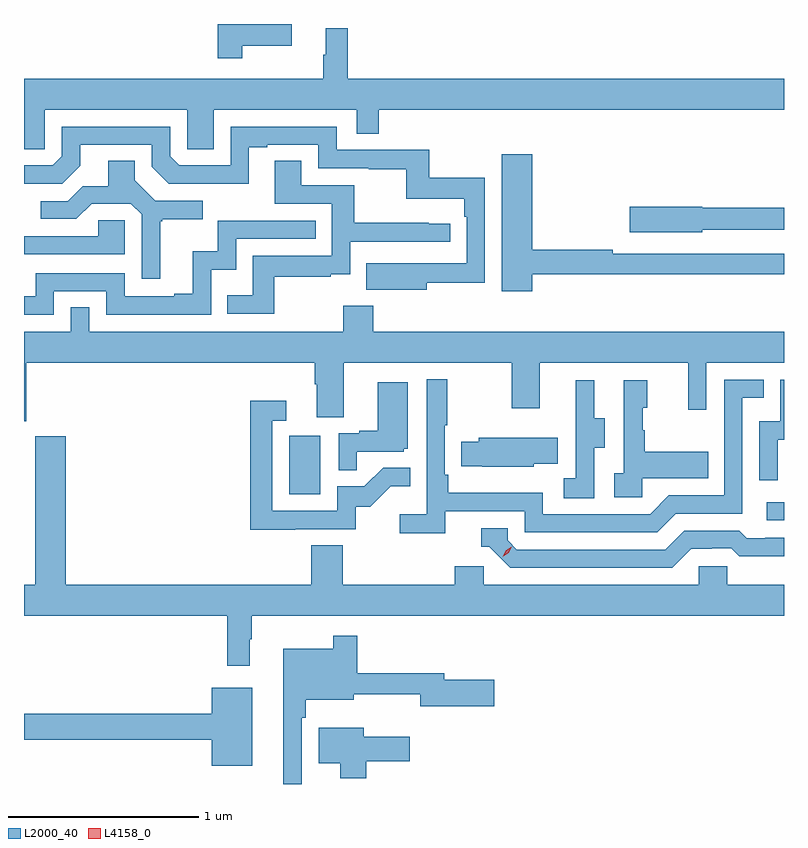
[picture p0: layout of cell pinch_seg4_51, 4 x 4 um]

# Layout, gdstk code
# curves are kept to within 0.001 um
import gdstk
lib = gdstk.Library(unit=1e-6, precision=1e-09)
def R(c, l, rs):  # rectangles x0, y0, x1, y1
    for r in rs: c.add(gdstk.rectangle(r[:2], r[2:], *l))
def P(c, l, *ps):  # polygons
    for p in ps: c.add(gdstk.Polygon(p, *l))
L2000_40 = (2000, 40)
L4158_0 = (4158, 0)

pinch_seg4_51 = lib.new_cell('pinch_seg4_51')
R(pinch_seg4_51, L2000_40, [(1048.509,829.29,1048.599,829.386), (1045.994,829.428,1046.158,829.735)])
P(pinch_seg4_51, L2000_40, [(1045.747,831.788),(1046.008,831.788),(1046.008,831.903),(1045.618,831.903),(1045.618,831.723),(1045.747,831.723)],
  [(1044.708,831.452),(1045.458,831.452),(1045.458,831.244),(1045.597,831.244),(1045.597,831.452),(1046.349,831.452),(1046.349,831.325),(1046.465,831.325),(1046.465,831.452),(1048.599,831.452),(1048.599,831.616),(1046.303,831.616),(1046.303,831.88),(1046.186,831.88),(1046.186,831.74),(1046.175,831.74),(1046.175,831.616),(1044.599,831.616),(1044.599,831.244),(1044.708,831.244)],
  [(1046.719,830.542),(1047.024,830.542),(1047.024,831.094),(1046.731,831.094),(1046.731,831.24),(1046.244,831.24),(1046.244,831.363),(1045.686,831.363),(1045.686,831.159),(1045.416,831.159),(1045.368,831.207),(1045.368,831.363),(1044.798,831.363),(1044.798,831.207),(1044.75,831.159),(1044.599,831.159),(1044.599,831.063),(1044.801,831.063),(1044.895,831.157),(1044.895,831.267),(1045.272,831.267),(1045.272,831.153),(1045.362,831.063),(1045.783,831.062),(1045.783,831.255),(1045.879,831.255),(1045.879,831.267),(1046.148,831.267),(1046.148,831.144),(1046.413,831.144),(1046.413,831.139),(1046.61,831.139),(1046.61,830.984),(1046.915,830.984),(1046.915,830.888),(1046.928,830.888),(1046.928,830.643),(1046.401,830.644),(1046.401,830.504),(1046.719,830.504)],
  [(1047.274,830.586),(1048.599,830.586),(1048.599,830.694),(1047.698,830.694),(1047.698,830.714),(1047.274,830.714),(1047.274,831.217),(1047.113,831.217),(1047.113,830.496),(1047.274,830.496)],
  [(1045.315,830.865),(1045.327,830.865),(1045.327,830.876),(1045.54,830.876),(1045.54,830.973),(1045.29,830.973),(1045.183,831.08),(1045.183,831.182),(1045.043,831.182),(1045.043,831.05),(1044.908,831.05),(1044.828,830.97),(1044.687,830.97),(1044.687,830.877),(1044.874,830.877),(1044.955,830.958),(1045.161,830.958),(1045.218,830.901),(1045.218,830.562),(1045.315,830.562)],
  [(1045.915,830.574),(1046.213,830.574),(1046.213,830.585),(1046.316,830.585),(1046.316,830.757),(1046.842,830.757),(1046.842,830.853),(1046.729,830.853),(1046.729,830.858),(1046.336,830.858),(1046.336,831.054),(1046.059,831.054),(1046.059,831.182),(1045.919,831.182),(1045.919,830.958),(1046.22,830.958),(1046.22,830.682),(1045.804,830.682),(1045.804,830.476),(1045.669,830.476),(1045.669,830.379),(1045.915,830.379)],
  [(1048.17,830.82),(1048.599,830.82),(1048.599,830.936),(1048.17,830.936),(1048.17,830.942),(1047.786,830.942),(1047.786,830.807),(1048.17,830.807)],
  [(1045.128,830.871),(1044.991,830.871),(1044.991,830.787),(1044.599,830.787),(1044.599,830.691),(1045.128,830.691)],
  [(1044.756,830.496),(1045.032,830.496),(1045.032,830.373),(1045.584,830.373),(1045.584,830.609),(1045.716,830.609),(1045.716,830.772),(1046.135,830.772),(1046.135,830.868),(1045.62,830.868),(1045.62,830.707),(1045.487,830.707),(1045.487,830.482),(1045.391,830.482),(1045.391,830.469),(1045.128,830.469),(1045.128,830.592),(1044.66,830.592),(1044.66,830.469),(1044.599,830.469),(1044.599,830.373),(1044.756,830.373)],
  [(1044.61,830.12),(1046.129,830.12),(1046.129,830.008),(1046.141,830.008),(1046.141,829.834),(1046.281,829.834),(1046.281,830.12),(1047.166,830.12),(1047.166,829.881),(1047.313,829.881),(1047.313,830.12),(1048.094,830.12),(1048.094,829.872),(1048.191,829.872),(1048.191,830.12),(1048.599,830.12),(1048.599,830.284),(1046.438,830.284),(1046.438,830.419),(1046.278,830.419),(1046.278,830.284),(1044.942,830.284),(1044.942,830.411),(1044.846,830.411),(1044.846,830.284),(1044.599,830.284),(1044.599,829.811),(1044.61,829.811)],
  [(1046.816,829.338),(1047.234,829.338),(1047.234,829.227),(1047.931,829.227),(1048.03,829.326),(1048.38,829.326),(1048.38,829.935),(1048.493,829.935),(1048.493,830.031),(1048.284,830.031),(1048.284,829.422),(1047.993,829.422),(1047.894,829.323),(1047.33,829.323),(1047.33,829.435),(1046.831,829.435),(1046.831,829.531),(1046.814,829.531),(1046.814,829.792),(1046.827,829.792),(1046.827,830.032),(1046.718,830.032),(1046.718,829.324),(1046.577,829.324),(1046.577,829.222),(1046.816,829.222)],
  [(1048.566,829.715),(1048.599,829.715),(1048.599,830.031),(1048.578,830.031),(1048.578,829.812),(1048.47,829.812),(1048.47,829.503),(1048.566,829.503)],
  [(1047.6,829.672),(1047.655,829.672),(1047.655,829.827),(1047.601,829.827),(1047.601,830.029),(1047.503,830.029),(1047.503,829.815),(1047.504,829.815),(1047.504,829.511),(1047.441,829.511),(1047.441,829.408),(1047.6,829.408)],
  [(1047.852,829.511),(1048.199,829.511),(1048.199,829.651),(1047.865,829.651),(1047.865,829.766),(1047.855,829.766),(1047.855,829.884),(1047.88,829.884),(1047.88,830.029),(1047.756,830.029),(1047.756,829.538),(1047.705,829.538),(1047.705,829.413),(1047.852,829.413)],
  [(1046.351,829.653),(1046.598,829.653),(1046.598,829.668),(1046.62,829.668),(1046.62,830.017),(1046.462,830.017),(1046.462,829.762),(1046.363,829.762),(1046.363,829.749),(1046.256,829.749),(1046.256,829.555),(1046.351,829.555)],
  [(1046.027,829.245),(1046.346,829.245),(1046.346,829.362),(1046.422,829.362),(1046.529,829.469),(1046.633,829.469),(1046.633,829.568),(1046.489,829.568),(1046.391,829.47),(1046.247,829.47),(1046.247,829.341),(1045.905,829.341),(1045.905,829.815),(1045.978,829.815),(1045.978,829.921),(1045.789,829.921),(1045.789,829.24),(1046.027,829.24)],
  [(1048.599,828.952),(1048.299,828.952),(1048.299,829.05),(1048.149,829.05),(1048.149,828.952),(1047.018,828.952),(1047.018,829.05),(1046.867,829.05),(1046.867,828.952),(1046.276,828.952),(1046.276,829.16),(1046.111,829.16),(1046.111,828.952),(1044.818,828.952),(1044.818,829.732),(1044.658,829.732),(1044.658,828.952),(1044.599,828.952),(1044.599,828.788),(1045.669,828.788),(1045.669,828.525),(1045.786,828.525),(1045.786,828.665),(1045.798,828.665),(1045.798,828.788),(1048.599,828.788)],
  [(1047.282,829.589),(1047.407,829.589),(1047.407,829.726),(1046.993,829.726),(1046.993,829.704),(1046.899,829.704),(1046.899,829.575),(1047.01,829.575),(1047.01,829.574),(1047.282,829.574)],
  [(1048.111,829.14),(1048.218,829.14),(1048.218,829.143),(1048.321,829.143),(1048.363,829.101),(1048.596,829.101),(1048.596,829.103),(1048.599,829.103),(1048.599,829.2),(1048.501,829.2),(1048.501,829.197),(1048.402,829.197),(1048.363,829.236),(1048.074,829.236),(1047.975,829.137),(1047.192,829.137),(1047.144,829.185),(1047.144,829.248),(1047.005,829.248),(1047.005,829.152),(1047.048,829.152),(1047.159,829.041),(1048.012,829.041)],
  [(1046.061,828.251),(1046.081,828.251),(1046.081,828.347),(1046.335,828.347),(1046.335,828.376),(1046.684,828.376),(1046.684,828.311),(1047.073,828.311),(1047.073,828.453),(1046.812,828.453),(1046.812,828.487),(1046.354,828.487),(1046.354,828.682),(1046.226,828.682),(1046.226,828.616),(1045.964,828.616),(1045.964,827.903),(1046.061,827.903)],
  [(1045.801,828.409),(1045.586,828.409),(1045.586,828.272),(1044.599,828.272),(1044.599,828.136),(1045.586,828.136),(1045.586,827.999),(1045.801,827.999)],
  [(1046.399,828.022),(1046.629,828.022),(1046.629,828.151),(1046.386,828.151),(1046.386,828.199),(1046.15,828.199),(1046.15,828.011),(1046.264,828.011),(1046.264,827.933),(1046.399,827.933)])
P(pinch_seg4_51, L4158_0, [(1047.12,829.1),(1047.12,829.1),(1047.136,829.132),(1047.167,829.152),(1047.167,829.152),(1047.167,829.152),(1047.151,829.119),(1047.12,829.1)])

lib.write_gds('pinch_seg4_51.gds')
